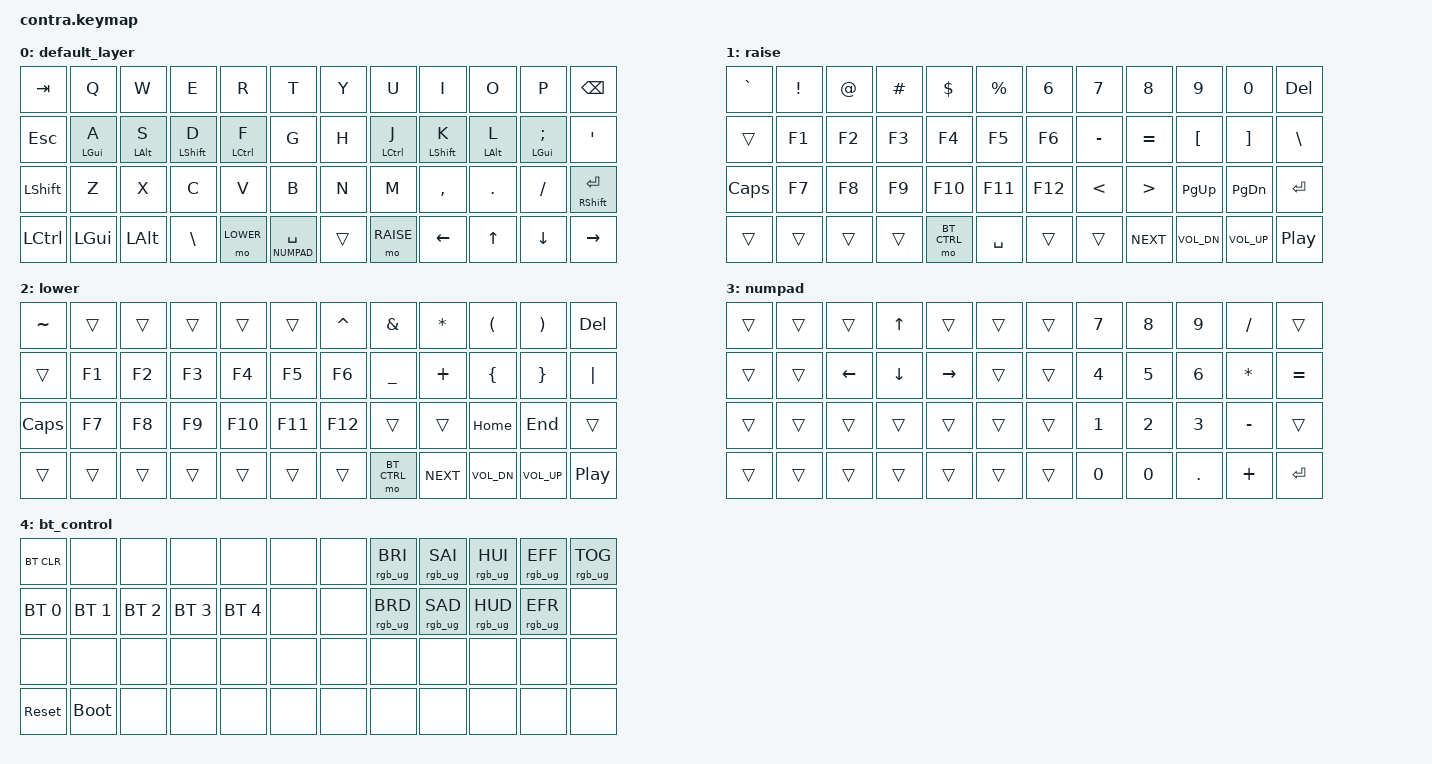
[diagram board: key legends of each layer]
/*
 * Copyright (c) 2021 The ZMK Contributors
 *
 * SPDX-License-Identifier: MIT
 */

#include <behaviors.dtsi>
#include <dt-bindings/zmk/keys.h>
#include <dt-bindings/zmk/bt.h>
#include <dt-bindings/zmk/rgb.h>


#define DEFAULT 0
#define RAISE 1
#define LOWER 2
#define NUMPAD 3
#define BT_CTRL  4

&mt {
    flavor = "tap-preferred";
    tapping_term_ms = <170>;
};

&led_strip {
    chain-length = <6>; /* Adjust this number to your actual LED count */
};

/ {
    chosen {
        zmk,underglow = &led_strip;
    };
};

/ {
    keymap {
        compatible = "zmk,keymap";

        default_layer {
            bindings = <
    
    &kp TAB   &kp Q      &kp W      &kp E       &kp R       &kp T             &kp Y     &kp U        &kp I       &kp O      &kp P         &kp BSPC
    &kp ESC   &mt LGUI A &mt LALT S &mt LSHFT D &mt LCTRL F &kp G             &kp H     &mt LCTRL J  &mt LSHFT K &mt LALT L &mt LGUI SEMI &kp SQT
    &kp LSHFT &kp Z      &kp X      &kp C       &kp V       &kp B             &kp N     &kp M        &kp COMMA   &kp DOT    &kp FSLH      &mt RSHFT ENTER
    &kp LCTRL &kp LGUI   &kp LALT   &kp BSLH    &mo LOWER   &lt NUMPAD SPACE  &trans    &mo RAISE    &kp LEFT    &kp UP     &kp DOWN      &kp RIGHT
            >;
        };

        raise {
            bindings = <
    &kp GRAVE &kp EXCL &kp AT   &kp HASH &kp DLLR    &kp PRCNT  &kp N6    &kp N7      &kp N8     &kp N9       &kp N0       &kp DEL
    &trans    &kp F1   &kp F2   &kp F3   &kp F4      &kp F5     &kp F6    &kp MINUS   &kp EQUAL  &kp LBKT     &kp RBKT     &kp BSLH
    &kp CAPS  &kp F7   &kp F8   &kp F9   &kp F10     &kp F11    &kp F12   &kp LT      &kp GT     &kp PG_UP    &kp PG_DN    &kp ENTER
    &trans    &trans   &trans   &trans   &mo BT_CTRL &kp SPACE  &trans    &trans      &kp C_NEXT &kp C_VOL_DN &kp C_VOL_UP &kp C_PP
            >;
        };

        lower {
            bindings = <
    &kp TILDE  &trans   &trans   &trans   &trans      &trans     &kp CARET &kp AMPS     &kp ASTRK  &kp LPAR     &kp RPAR     &kp DEL
    &trans     &kp F1   &kp F2   &kp F3   &kp F4      &kp F5     &kp F6    &kp UNDER    &kp PLUS   &kp LBRC     &kp RBRC     &kp PIPE
    &kp CAPS   &kp F7   &kp F8   &kp F9   &kp F10     &kp F11    &kp F12   &trans       &trans     &kp HOME     &kp END      &trans
    &trans     &trans   &trans   &trans   &trans      &trans     &trans    &mo BT_CTRL  &kp C_NEXT &kp C_VOL_DN &kp C_VOL_UP &kp C_PP
            >;
        };

        numpad {
            bindings = <
    &trans     &trans       &trans       &kp UP       &trans    &trans    &trans    &kp N7    &kp N8     &kp N9   &kp FSLH    &trans
    &trans     &trans       &kp LEFT     &kp DOWN     &kp RIGHT &trans    &trans    &kp N4    &kp N5     &kp N6   &kp ASTRK   &kp EQUAL
    &trans     &trans       &trans       &trans       &trans    &trans    &trans    &kp N1    &kp N2     &kp N3   &kp MINUS   &trans
    &trans     &trans       &trans       &trans       &trans    &trans    &trans    &kp N0    &kp N0     &kp DOT  &kp PLUS    &kp ENTER
            >;
        };


        bt_control {
            bindings = <
    &bt BT_CLR   &none        &none        &none        &none        &none       &none    &rgb_ug RGB_BRI &rgb_ug RGB_SAI &rgb_ug RGB_HUI &rgb_ug RGB_EFF  &rgb_ug RGB_TOG
    &bt BT_SEL 0 &bt BT_SEL 1 &bt BT_SEL 2 &bt BT_SEL 3 &bt BT_SEL 4 &none       &none    &rgb_ug RGB_BRD &rgb_ug RGB_SAD &rgb_ug RGB_HUD &rgb_ug RGB_EFR  &none
    &none        &none        &none        &none        &none        &none       &none    &none           &none           &none           &none            &none
    &sys_reset   &bootloader  &none        &none        &none        &none       &none    &none           &none           &none           &none            &none
            >;
        };
    };
};
